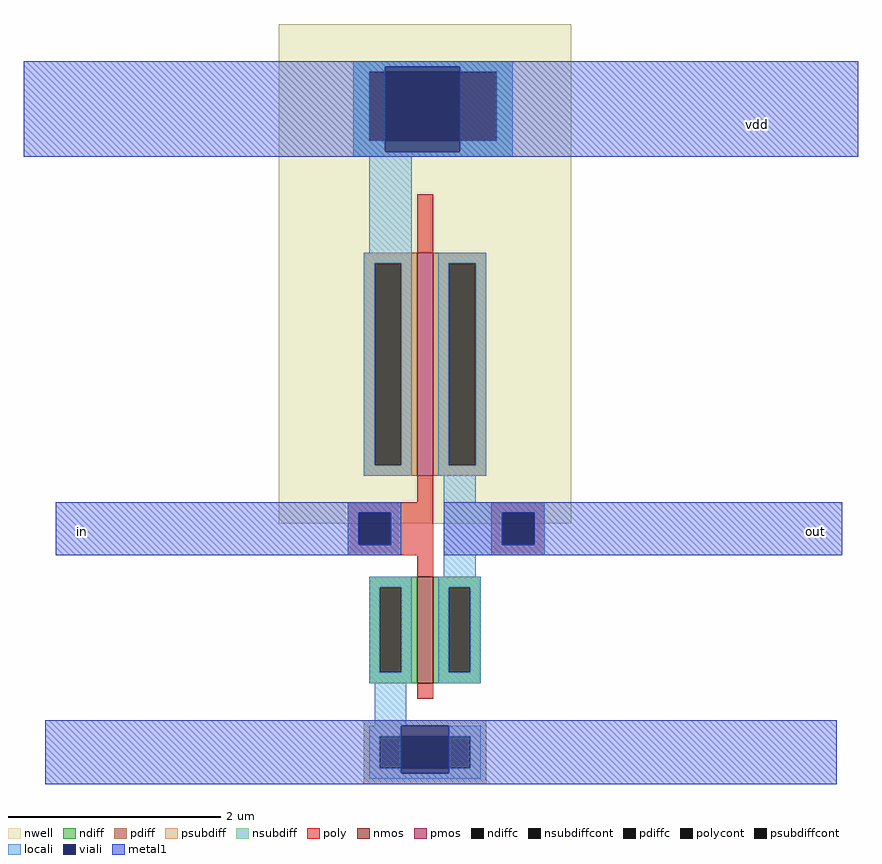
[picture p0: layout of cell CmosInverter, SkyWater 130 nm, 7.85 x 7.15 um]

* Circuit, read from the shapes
.subckt CmosInverter in out vdd
XM1 out in VSUBS VSUBS sky130_fd_pr__nfet_01v8 w=1 l=0.15
XM2 out in vdd vdd sky130_fd_pr__pfet_01v8 w=2.1 l=0.15
.ends

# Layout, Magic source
magic
tech sky130A
<< nwell >>
rect 0 -50 275 420
<< nmos >>
rect 130 -200 145 -100
<< pmos >>
rect 130 -5 145 205
<< ndiff >>
rect 85 -110 130 -100
rect 85 -190 95 -110
rect 115 -190 130 -110
rect 85 -200 130 -190
rect 145 -110 190 -100
rect 145 -190 160 -110
rect 180 -190 190 -110
rect 145 -200 190 -190
<< pdiff >>
rect 80 195 130 205
rect 80 5 90 195
rect 115 5 130 195
rect 80 -5 130 5
rect 145 195 195 205
rect 145 5 160 195
rect 185 5 195 195
rect 145 -5 195 5
<< ndiffc >>
rect 95 -190 115 -110
rect 160 -190 180 -110
<< pdiffc >>
rect 90 5 115 195
rect 160 5 185 195
<< psubdiff >>
rect 80 -250 195 -235
rect 80 -280 95 -250
rect 180 -280 195 -250
rect 80 -295 195 -280
<< nsubdiff >>
rect 70 375 220 385
rect 70 310 85 375
rect 205 310 220 375
rect 70 295 220 310
<< psubdiffcont >>
rect 95 -280 180 -250
<< nsubdiffcont >>
rect 85 310 205 375
<< poly >>
rect 130 205 145 260
rect 130 -30 145 -5
rect 65 -40 145 -30
rect 65 -70 75 -40
rect 105 -70 145 -40
rect 65 -80 145 -70
rect 200 -40 250 -30
rect 200 -70 210 -40
rect 240 -70 250 -40
rect 200 -80 250 -70
rect 130 -100 145 -80
rect 130 -215 145 -200
<< polycont >>
rect 75 -70 105 -40
rect 210 -70 240 -40
<< locali >>
rect 70 380 220 385
rect 70 375 100 380
rect 170 375 220 380
rect 70 310 85 375
rect 205 310 220 375
rect 70 300 100 310
rect 170 300 220 310
rect 70 295 220 300
rect 85 205 125 295
rect 80 195 125 205
rect 80 5 90 195
rect 115 5 125 195
rect 80 -5 125 5
rect 150 195 195 205
rect 150 5 160 195
rect 185 5 195 195
rect 150 -5 195 5
rect 155 -30 185 -5
rect 65 -40 115 -30
rect 65 -70 75 -40
rect 105 -70 115 -40
rect 65 -80 115 -70
rect 155 -40 250 -30
rect 155 -70 210 -40
rect 240 -70 250 -40
rect 155 -80 250 -70
rect 155 -100 185 -80
rect 85 -110 125 -100
rect 85 -190 95 -110
rect 115 -190 125 -110
rect 85 -200 125 -190
rect 150 -110 190 -100
rect 150 -190 160 -110
rect 180 -190 190 -110
rect 150 -200 190 -190
rect 90 -240 120 -200
rect 85 -250 115 -240
rect 160 -250 190 -240
rect 85 -280 95 -250
rect 180 -280 190 -250
rect 85 -285 115 -280
rect 160 -285 190 -280
rect 85 -290 190 -285
<< viali >>
rect 100 375 170 380
rect 100 310 170 375
rect 100 300 170 310
rect 75 -70 105 -40
rect 210 -70 240 -40
rect 115 -250 160 -240
rect 115 -280 160 -250
rect 115 -285 160 -280
<< metal1 >>
rect -240 380 545 385
rect -240 300 100 380
rect 170 300 545 380
rect -240 295 545 300
rect -210 -40 115 -30
rect -210 -70 75 -40
rect 105 -70 115 -40
rect -210 -80 115 -70
rect 155 -40 530 -30
rect 155 -70 210 -40
rect 240 -70 530 -40
rect 155 -80 530 -70
rect -220 -240 525 -235
rect -220 -285 115 -240
rect 160 -285 525 -240
rect -220 -295 525 -285
<< labels >>
rlabel metal1 450 325 450 325 1 vdd
rlabel metal1 500 -70 510 -45 1 out
rlabel metal1 -190 -70 -180 -45 1 in
<< end >>
